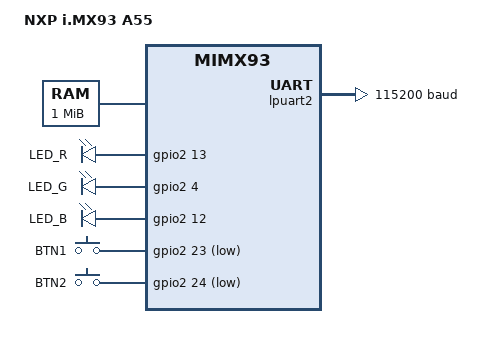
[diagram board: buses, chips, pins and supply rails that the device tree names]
/*
 * Copyright 2022,2024 NXP
 *
 * SPDX-License-Identifier: Apache-2.0
 */

/dts-v1/;

#include <nxp/nxp_mimx93_a55.dtsi>
#include "mimx93_evk-pinctrl.dtsi"

/ {
	model = "NXP i.MX93 A55";
	compatible = "fsl,mimx93";

	chosen {
		zephyr,console = &lpuart2;
		zephyr,shell-uart = &lpuart2;
		zephyr,sram = &sram0;
	};

	cpus {
		cpu@0 {
			status = "disabled";
		};
	};

	sram0: memory@d0000000 {
		reg = <0xd0000000 DT_SIZE_M(1)>;
	};

	aliases {
		led0 = &led_r;
		sw0 = &btn_1;
	};

	leds {
		compatible = "gpio-leds";
		led_r: led_r {
			label = "LED_R";
			gpios = <&gpio2 13 GPIO_ACTIVE_HIGH>;
		};
		led_g: led_g {
			label = "LED_G";
			gpios = <&gpio2 4 GPIO_ACTIVE_HIGH>;
		};
		led_b: led_b {
			label = "LED_B";
			gpios = <&gpio2 12 GPIO_ACTIVE_HIGH>;
		};
	};

	keys {
		compatible = "gpio-keys";

		btn_1: btn_1{
			label = "BTN1";
			gpios = <&gpio2 23 GPIO_ACTIVE_LOW>;
		};

		btn_2: btn_2{
			label = "BTN2";
			gpios = <&gpio2 24 GPIO_ACTIVE_LOW>;
		};
	};
};

&lpuart1 {
	status = "disabled";
	current-speed = <115200>;
	/* clocks = <&ccm IMX_CCM_UART4_CLK 0x6c 24>; */
	pinctrl-0 = <&uart1_default>;
	pinctrl-names = "default";
};

&lpuart2 {
	status = "okay";
	current-speed = <115200>;
	/* clocks = <&ccm IMX_CCM_UART4_CLK 0x6c 24>; */
	pinctrl-0 = <&uart2_default>;
	pinctrl-names = "default";
};


&lpi2c1{
	status = "disabled";
	clock-frequency = <I2C_BITRATE_FAST>;
	pinctrl-0 = <&i2c1_default>;
	pinctrl-names = "default";
};

&lpi2c2{
	status = "disabled";
	clock-frequency = <I2C_BITRATE_FAST>;
	pinctrl-0 = <&i2c2_default>;
	pinctrl-names = "default";
};

&lpspi3 {
	status = "disabled";
	clock-frequency = <1000000>;
	pinctrl-0 = <&spi3_default>;
	pinctrl-names = "default";
};

&gpio1{
	status = "okay";
};

&gpio2{
	status = "okay";
};

&gpio3{
	status = "okay";
};

&gpio4{
	status = "okay";
};
